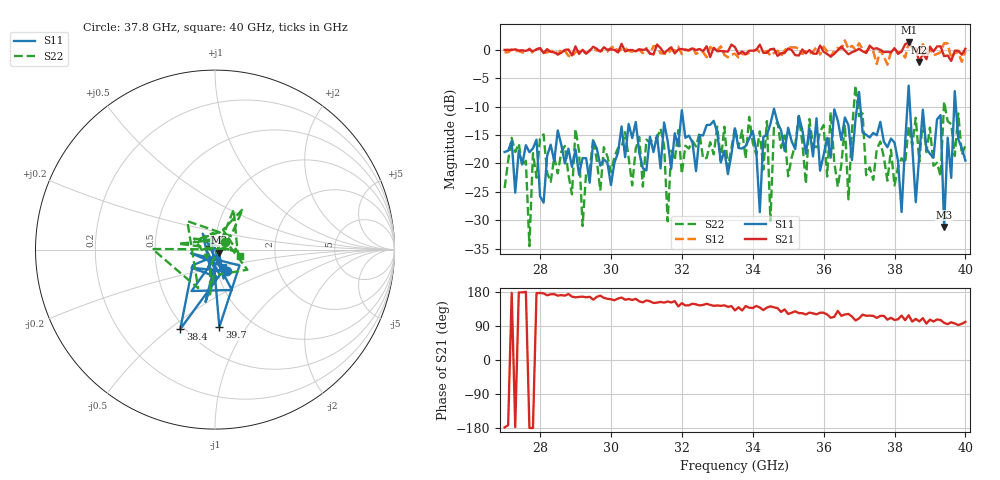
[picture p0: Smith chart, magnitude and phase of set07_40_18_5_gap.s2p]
! Quiescent point : V1=-1.66492E-02 I1=+1.27349E-03 V2=-2.15060E-02 I2=-1.25637E-03
! Pulsed point : V1=-1.63289E-02 I1=+1.28781E-03 V2=-2.19457E-02 I2=-1.28422E-03
! Period : +2.00000E-04
! Input Supply timing : delay=+1.60000E-06 width=+2.20000E-06
! Output Supply timing : delay=+1.70000E-06 width=+2.00000E-06
! VNA timing : delay=+2.40000E-06 width=+1.10000E-06
# Hz S RI R 50
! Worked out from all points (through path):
!   131 points, 27 GHz to 40 GHz, reference 50 ohm
!   highest |S21| = 1.28 dB at 38.4 GHz (marker M1); lowest = -2.2 dB at 38.7 GHz (marker M2)
!   group delay of S21, straight-line fit = 18.4 ps
!   lowest |S11| = -31.2 dB at 39.4 GHz (marker M3), VSWR 1.06, Z = 52.3 - j1.69 ohm
!   |S11| at or under -10 dB: start of sweep to 36.95 GHz; 37.04 GHz to 38.36 GHz (1.328 GHz wide, 3.52 % of centre); 38.43 GHz to 39.68 GHz (1.247 GHz wide, 3.19 % of centre)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
!   |S22| runs from -34.6 to -6.3 dB; largest |S21 - S12| = 0.28
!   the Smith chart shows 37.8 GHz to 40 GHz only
!   S11 on the Smith chart (normalised r, x): 37.8 GHz: 1.11, -0.27; 38.4 GHz: 0.47, -0.55; 39.7 GHz: 0.72, -0.76; 40 GHz: 1.08, -0.21
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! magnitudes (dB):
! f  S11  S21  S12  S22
! 27 GHz  -18.0  0.0  -0.4  -24.4
! 27.7 GHz  -18.0  0.0  0.2  -34.6
! 29 GHz  -17.6  0.6  -0.4  -14.0
! 29.2 GHz  -19.1  0.0  -0.3  -31.0
! 31.4 GHz  -20.9  0.3  -0.6  -13.9
! 31.6 GHz  -16.1  -0.1  -0.8  -30.2
! 33.5 GHz  -13.9  0.4  -0.7  -13.7
! 34.4 GHz  -15.0  -0.5  -0.2  -12.6
! 34.5 GHz  -13.0  0.1  -1.1  -30.1
! 34.6 GHz  -10.4  0.2  -0.6  -13.5
! 35.7 GHz  -18.8  -0.7  -0.4  -16.9
! 36.7 GHz  -13.3  -0.8  0.1  -26.3
! 36.9 GHz  -12.2  -0.2  -0.1  -6.3
! 37.8 GHz  -17.2  -0.4  -2.6  -23.0
! 37.9 GHz  -15.6  -0.5  -0.4  -17.6
! 38.2 GHz  -28.6  -0.3  -0.3  -19.1
! 38.4 GHz  -6.3  1.3  1.2  -13.5
! 38.7 GHz  -18.5  -2.2  -0.8  -19.7
! 39.3 GHz  -11.5  0.6  -0.5  -22.3
! 39.4 GHz  -31.2  -1.1  1.1  -9.2
! 39.7 GHz  -7.3  -0.2  -0.5  -18.7
! 40 GHz  -19.5  0.2  -0.2  -16.9
